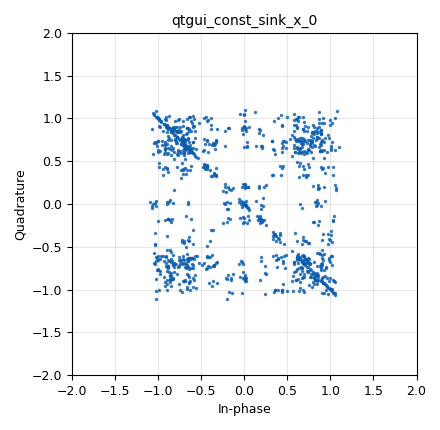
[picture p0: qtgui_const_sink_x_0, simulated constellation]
options:
  parameters:
    author: pranav
    category: Custom
    description: QPSK Repeating Text Hardware Transmitter with PRBS Whitening & CRC32
    generate_options: qt_gui
    id: tx_qpsk_repeating_text
    output_language: python
    title: QPSK Repeating Text Transmitter
  states: {}

blocks:
- name: Alpha
  id: variable
  parameters:
    value: '0.35'
  states: {}
- name: center_freq
  id: variable
  parameters:
    value: '2850000000'
  states: {}
- name: qpsk_const
  id: variable_constellation
  parameters:
    const_points: '[-1-1j, -1+1j, 1+1j, 1-1j]'
    dims: '1'
    normalization: digital.constellation.AMPLITUDE_NORMALIZATION
    precision: '8'
    rot_sym: '4'
    sym_map: '[0, 1, 3, 2]'
    type: calcdist
  states: {}
- name: samp_rate
  id: variable
  parameters:
    value: '1000000'
  states: {}
- name: sps
  id: variable
  parameters:
    value: '4'
  states: {}
- name: tx_gain
  id: variable
  parameters:
    value: '39'
  states: {}
- name: analog_random_source_x_0
  id: analog_random_source_x
  parameters:
    max: '255'
    min: '0'
    num_samps: '10000'
    repeat: 'True'
    type: byte
  states: {}
- name: digital_constellation_modulator_0
  id: digital_constellation_modulator
  parameters:
    comment: Maps bytes to QPSK, applies RRC
    constellation: qpsk_const
    differential: 'True'
    excess_bw: Alpha
    samples_per_symbol: sps
  states: {}
- name: epy_block_0
  id: epy_block
  parameters:
    _source_code: |
      import numpy as np
      from gnuradio import gr
      import struct
      import zlib

      # Synchronous PRBS whitening keystream (seed=42 matches BER setup)
      _rng = np.random.RandomState(42)
      WHITENING_KEY = _rng.randint(0, 256, size=2048, dtype=np.uint8)

      class blk(gr.basic_block):
          """QPSK Repeating Text Frame Generator with PRBS Whitening & CRC32"""
          def __init__(self, message="Hello USRP B210 QPSK Link!"):
              gr.basic_block.__init__(
                  self,
                  name='Text Frame Generator',
                  in_sig=[np.uint8],
                  out_sig=[np.uint8]
              )
              self.message = str(message)
              self.seq_num = 0
              
              # 32-symbol preamble (same robust sequence as BER setup)
              self.preamble = np.array([3, 3, 3, 3, 3, 0, 0, 3, 3, 0, 3, 0, 3, 3, 3, 3,
                                        3, 3, 0, 0, 3, 3, 0, 3, 0, 3, 3, 0, 0, 3, 0, 3], dtype=np.uint8)
              
              self.current_frame = np.array([], dtype=np.uint8)
              self.ptr = 0

          def set_message(self, message):
              self.message = str(message)

          def bytes_to_symbols(self, data_bytes):
              """Convert bytes into 2-bit QPSK symbols (4 symbols per byte, MSB first)"""
              syms = []
              for b in data_bytes:
                  syms.append((b >> 6) & 0x03)
                  syms.append((b >> 4) & 0x03)
                  syms.append((b >> 2) & 0x03)
                  syms.append(b & 0x03)
              return np.array(syms, dtype=np.uint8)

          def pack_symbols_to_bytes(self, symbols):
              """Pack 4 2-bit symbols into one 8-bit byte for Constellation Modulator"""
              rem = len(symbols) % 4
              if rem != 0:
                  symbols = np.pad(symbols, (0, 4 - rem), 'constant', constant_values=0)
              
              packed = np.zeros(len(symbols) // 4, dtype=np.uint8)
              for i in range(len(packed)):
                  packed[i] = (int(symbols[4*i]) << 6) | (int(symbols[4*i+1]) << 4) | (int(symbols[4*i+2]) << 2) | int(symbols[4*i+3])
              return packed

          def build_packet(self):
              """Builds one framed packet: Preamble + Whitened(Header + Payload + CRC32)"""
              payload_text = f"{self.message} [Pkt #{self.seq_num:05d}]"
              payload_bytes = payload_text.encode('utf-8')
              
              # Header (7 bytes):
              # Magic (2B: 0x5A, 0xA5)
              # Type (1B: 0x01 for repeating text)
              # Seq Num (2B: uint16)
              # Payload Len (2B: uint16)
              magic = 0x5AA5
              pkt_type = 0x01
              header_bytes = struct.pack('>H B H H', magic, pkt_type, self.seq_num, len(payload_bytes))
              
              # CRC32 over unwhitened Header + Payload
              crc = zlib.crc32(header_bytes + payload_bytes) & 0xFFFFFFFF
              crc_bytes = struct.pack('>I', crc)
              
              # Assemble raw data bytes
              raw_data = bytearray(header_bytes + payload_bytes + crc_bytes)
              
              # Whiten data bytes to eliminate repetitive ASCII patterns & discrete CW tones
              for i in range(len(raw_data)):
                  raw_data[i] ^= int(WHITENING_KEY[i % len(WHITENING_KEY)])
                  
              # Convert whitened data to symbols
              data_syms = self.bytes_to_symbols(raw_data)
              
              # Continuous streaming: Preamble + Whitened Data (no dead unmodulated zeros!)
              full_symbols = np.concatenate([self.preamble, data_syms])
              packed = self.pack_symbols_to_bytes(full_symbols)
              
              self.seq_num = (self.seq_num + 1) & 0xFFFF
              return packed

          def general_work(self, input_items, output_items):
              in0 = input_items[0]
              out = output_items[0]
              n_out = len(out)
              written = 0
              read = min(len(in0), n_out)
              
              while written < read:
                  if self.ptr >= len(self.current_frame):
                      self.current_frame = self.build_packet()
                      self.ptr = 0
                      
                  rem = len(self.current_frame) - self.ptr
                  to_write = min(rem, read - written)
                  out[written:written+to_write] = self.current_frame[self.ptr:self.ptr+to_write]
                  self.ptr += to_write
                  written += to_write
                  
              self.consume(0, read)
              return written
    comment: QPSK Repeating Text Framer with PRBS Whitening & CRC32
    message: msg_text
  states: {}
- name: qtgui_const_sink_x_0
  id: qtgui_const_sink_x
  parameters:
    size: '1024'
    type: complex
  states: {}
- name: uhd_usrp_sink_0
  id: uhd_usrp_sink
  parameters:
    ant0: '"TX/RX"'
    center_freq0: uhd.tune_request(center_freq, samp_rate/2)
    gain0: tx_gain
    samp_rate: samp_rate
    sync: pc_clock
    type: fc32
  states: {}
- name: msg_text
  id: variable
  parameters:
    value: '''Hello USRP B210 QPSK Link!'''
  states: {}

connections:
- [analog_random_source_x_0, '0', epy_block_0, '0']
- [digital_constellation_modulator_0, '0', qtgui_const_sink_x_0, '0']
- [digital_constellation_modulator_0, '0', uhd_usrp_sink_0, '0']
- [epy_block_0, '0', digital_constellation_modulator_0, '0']

metadata:
  file_format: 1
  grc_version: 3.10.12.0
